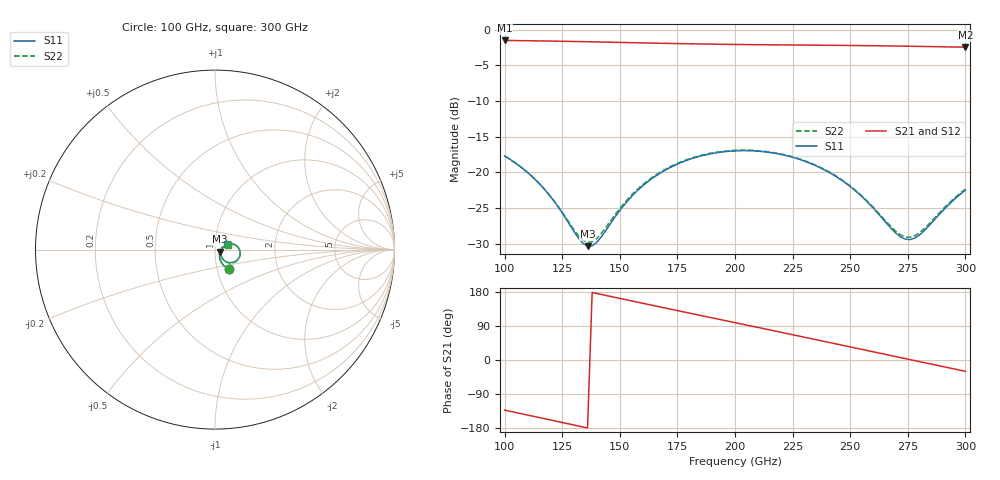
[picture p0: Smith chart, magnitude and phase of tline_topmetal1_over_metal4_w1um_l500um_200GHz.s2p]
#  GHZ S DB R 50
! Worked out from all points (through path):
!   101 points, 100 GHz to 300 GHz, reference 50 ohm
!   highest |S21| = -1.51 dB at 100 GHz (marker M1); lowest = -2.5 dB at 300 GHz (marker M2)
!   group delay of S21, straight-line fit = 3.57 ps
!   lowest |S11| = -30.3 dB at 136 GHz (marker M3), VSWR 1.06, Z = 52.9 - j1.28 ohm
!   |S11| at or under -10 dB: start of sweep to end of sweep
!   |S22| runs from -29.8 to -16.9 dB; largest |S21 - S12| = 1.4e-13
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100  -17.69 -54.5  -1.51 -132.2  -1.51 -132.2  -17.69 -54.2
108  -19.48 -60.2  -1.54 -142.7  -1.54 -142.7  -19.47 -59.8
116  -21.89 -63.6  -1.58 -153.2  -1.58 -153.2  -21.86 -62.8
126  -26.16 -58.9  -1.63 -166.3  -1.63 -166.3  -26.03 -57.4
134  -29.92 -34.0  -1.68 -176.7  -1.68 -176.7  -29.48 -32.5
136  -30.32 -23.3  -1.69 -179.3  -1.69 -179.3  -29.80 -22.4
140  -29.78 -2.1  -1.71 175.5  -1.71 175.5  -29.25 -2.8
152  -24.50 23.3  -1.80 160.0  -1.80 160.0  -24.26 21.4
160  -21.85 23.1  -1.85 149.6  -1.85 149.6  -21.69 21.4
168  -19.99 18.8  -1.90 139.4  -1.90 139.4  -19.87 17.2
184  -17.79 6.0  -2.00 119.0  -2.00 119.0  -17.71 4.5
200  -16.97 -8.9  -2.07 98.6  -2.07 98.6  -16.90 -10.3
216  -17.24 -24.1  -2.12 78.2  -2.12 78.2  -17.18 -25.4
224  -17.79 -31.4  -2.14 68.0  -2.14 68.0  -17.72 -32.6
234  -18.90 -39.8  -2.17 55.2  -2.17 55.2  -18.83 -41.0
244  -20.60 -46.7  -2.19 42.3  -2.19 42.3  -20.52 -47.8
252  -22.50 -49.8  -2.22 32.0  -2.22 32.0  -22.41 -50.9
268  -27.90 -37.1  -2.28 11.3  -2.28 11.3  -27.69 -37.8
274  -29.35 -17.8  -2.31 3.6  -2.31 3.6  -29.04 -19.0
278  -29.20 -2.6  -2.33 -1.6  -2.33 -1.6  -28.87 -4.4
288  -26.11 20.7  -2.38 -14.4  -2.38 -14.4  -25.89 18.1
300  -22.47 24.2  -2.45 -29.8  -2.45 -29.8  -22.33 21.5
